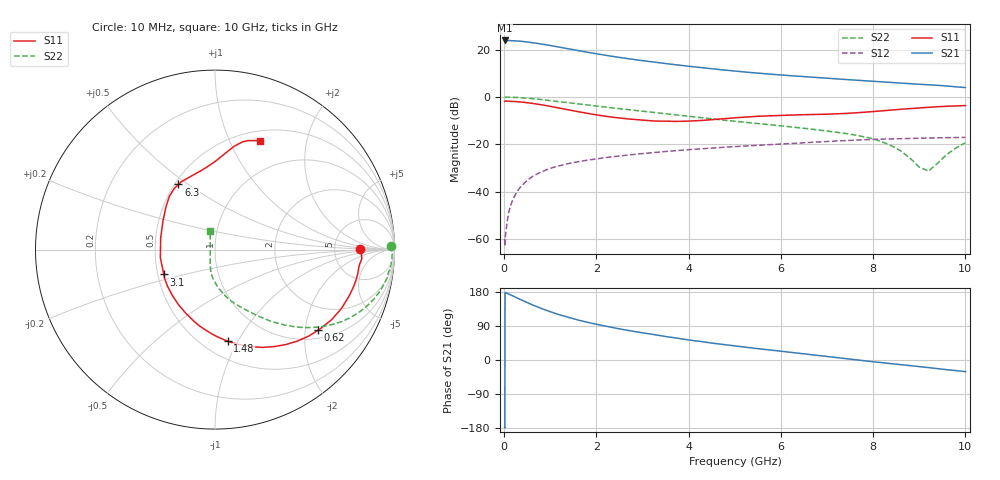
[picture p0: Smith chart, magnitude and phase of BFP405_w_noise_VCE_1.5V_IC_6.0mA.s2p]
! Infineon Technologies  Discrete & RF Semiconductors
! BFP405
! VCE =  1.5 V,  IC =  6.0 mA
! Common Emitter S-Parameters:  Jan 2016
# GHz  S  MA  R  50
!  f  S11  S21  S12  S22
! GHz  MAG  ANG  MAG  ANG  MAG  ANG  MAG  ANG
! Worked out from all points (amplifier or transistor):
!   233 points, 10 MHz to 10 GHz, reference 50 ohm
!   highest |S21| = 23.9 dB at 10 MHz (marker M1)
!   |S21| within 3 dB of that: start of sweep to 1.247 GHz
!   unconditionally stable (mu >= 1): start of sweep to 15.1 MHz; 3.101 GHz to end of sweep
!   at 200 MHz: K = 0.11, MSG = 33.4 dB, |S12| = -43.0 dB
!   at 1.74 GHz: K = 0.62, MSG = 23.0 dB, |S12| = -26.9 dB
!   at 10 GHz: K = 1.45, MAG = 6.6 dB, |S12| = -17.1 dB
!   lowest NFmin = 1.32 dB at 900 MHz
!   S11 on the Smith chart (normalised r, x): 10 MHz: 9.26, +0.15; 620 MHz: 1.23, -2.35; 1.48 GHz: 0.65, -0.91; 3.1 GHz: 0.54, -0.17; 6.3 GHz: 0.52, +0.46; 10 GHz: 0.61, +1.30
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0.01  0.8051 0.2  15.61 -177.4  0.001 9.8  0.9803 1.3
0.02  0.8149 -1.2  15.56 178.3  0.001 99.3  0.9841 -0.2
0.11  0.8077 -6.9  15.53 173.3  0.004 86.2  0.9869 -3.2
0.24  0.7985 -15.2  15.37 165.9  0.0085 82.9  0.975 -7.5
0.42  0.7723 -26.3  14.81 155.7  0.0146 77.5  0.9549 -12.8
0.62  0.7289 -38.0  14 145.1  0.0209 72.0  0.9194 -18.3
0.8  0.6851 -48.2  13.2 136.3  0.0259 67.7  0.8817 -22.8
1  0.6323 -58.7  12.22 127.3  0.0308 63.5  0.8373 -27.3
1.2  0.5812 -68.8  11.28 119.4  0.0352 59.9  0.7925 -31.1
1.48  0.5142 -82.2  10.04 109.4  0.0406 55.9  0.7334 -35.8
1.68  0.4729 -91.4  9.256 103.1  0.0441 53.3  0.6949 -38.6
2  0.4178 -106.0  8.161 94.1  0.0491 50.0  0.6391 -42.6
2.3  0.3776 -119.2  7.318 86.8  0.0535 47.3  0.5934 -45.7
3.1  0.317 -154.1  5.677 69.9  0.0648 41.2  0.4878 -53.3
3.4  0.3074 -167.1  5.216 64.1  0.0689 39.1  0.4521 -56.1
4  0.3093 168.2  4.45 52.9  0.0768 34.9  0.3879 -61.8
5.1  0.3669 137.3  3.445 35.7  0.0902 27.2  0.299 -72.7
6.3  0.416 119.3  2.772 19.0  0.1049 19.3  0.2284 -82.6
6.8  0.4264 110.9  2.561 12.0  0.1115 15.7  0.2009 -86.9
8.4  0.5288 85.1  2.015 -9.7  0.1297 2.1  0.0927 -106.5
9.2  0.6026 77.5  1.804 -20.1  0.1354 -4.4  0.027 167.4
10  0.6564 67.7  1.576 -30.7  0.1396 -10.1  0.1075 105.2
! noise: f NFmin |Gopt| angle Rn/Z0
0.9  1.32  0.32  10  0.32
1.8  1.58  0.25  16  0.31
2.4  1.71  0.21  23  0.31
3  1.74  0.18  41  0.28
4  1.9  0.07  58  0.25
5  2.27  0.03  180  0.23
